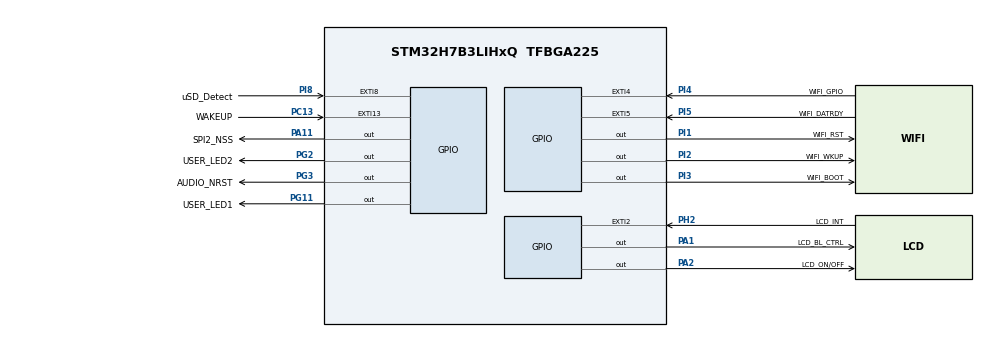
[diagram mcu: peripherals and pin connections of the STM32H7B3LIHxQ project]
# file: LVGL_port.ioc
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CORTEX_M7.CPU_DCache=Enabled
CORTEX_M7.CPU_ICache=Enabled
Mcu.Family=STM32H7
Mcu.Name=STM32H7B3LIHxQ
Mcu.Package=TFBGA225
NVIC.PriorityGroup=NVIC_PRIORITYGROUP_4
PA0.GPIO_Label=I2S6_WS
PA0.Signal=I2S6_WS
PA1.GPIO_Label=LCD_BL_CTRL
PA1.PinState=GPIO_PIN_SET
PA1.Signal=GPIO_Output
PA10.GPIO_Label=VCP_RX
PA10.Signal=USART1_RX
PA11.GPIO_Label=SPI2_NSS
PA11.Signal=GPIO_Output
PA12.GPIO_Label=SPI2_SCK
PA12.Signal=SPI2_SCK
PA13.GPIO_Label=JTMS
PA13.Mode=JTAG_5_pins
PA13.Signal=DEBUG_JTMS-SWDIO
PA14.GPIO_Label=JTCK
PA14.Mode=JTAG_5_pins
PA14.Signal=DEBUG_JTCK-SWCLK
PA15.GPIO_Label=JTDI
PA15.Mode=JTAG_5_pins
PA15.Signal=DEBUG_JTDI
PA2.GPIO_Label=LCD_ON/OFF
PA2.PinState=GPIO_PIN_SET
PA2.Signal=GPIO_Output
PA3.GPIO_Label=I2S6_MCK
PA3.Signal=I2S6_MCK
PA8.GPIO_Label=MCO
PA8.Signal=RCC_MCO_1
PA9.GPIO_Label=VCP_TX
PA9.Signal=USART1_TX
PB2.GPIO_Label=OCSPI1_CLK
PB2.Signal=OCTOSPIM_P1_CLK
PB3.GPIO_Label=JTDO_TRACESWO
PB3.Mode=JTAG_5_pins
PB3.Signal=DEBUG_JTDO-SWO
PB4.Mode=JTAG_5_pins
PB4.Signal=DEBUG_JTRST
PC1.GPIO_Label=OCSPI1_IO4
PC1.Signal=OCTOSPIM_P1_IO4
PC10.GPIO_Label=SDIO1_D2
PC10.Signal=SDMMC1_D2
PC11.GPIO_Label=SDIO1_D3
PC11.Signal=SDMMC1_D3
PC12.GPIO_Label=SDIO1_CK
PC12.Signal=SDMMC1_CK
PC13.GPIO_Label=WAKEUP
PC13.Signal=GPXTI13
PC14-OSC32_IN.Mode=LSE-External-Oscillator
PC14-OSC32_IN.Signal=RCC_OSC32_IN
PC15-OSC32_OUT.Mode=LSE-External-Oscillator
PC15-OSC32_OUT.Signal=RCC_OSC32_OUT
PC2.GPIO_Label=SPI2_MISO
PC2.Signal=SPI2_MISO
PC3.GPIO_Label=SPI2_MOSI
PC3.Signal=SPI2_MOSI
PC5.GPIO_Label=OCSPI1_DQS
PC5.Signal=OCTOSPIM_P1_DQS
PC8.GPIO_Label=SDIO1_D0
PC8.Signal=SDMMC1_D0
PC9.GPIO_Label=SDIO1_D1
PC9.Signal=SDMMC1_D1
PD0.GPIO_Label=D2
PD0.Signal=FMC_D2_DA2
PD1.GPIO_Label=D3
PD1.Signal=FMC_D3_DA3
PD10.GPIO_Label=D15
PD10.Signal=FMC_D15_DA15
PD11.GPIO_Label=OCSPI1_IO0
PD11.Signal=OCTOSPIM_P1_IO0
PD12.GPIO_Label=I2C4_SCL
PD12.Signal=I2C4_SCL
PD13.GPIO_Label=I2C4_SDA
PD13.Signal=I2C4_SDA
PD14.GPIO_Label=D0
PD14.Signal=FMC_D0_DA0
PD15.GPIO_Label=D1
PD15.Signal=FMC_D1_DA1
PD2.GPIO_Label=SDIO1_CMD
PD2.Signal=SDMMC1_CMD
PD7.GPIO_Label=OCSPI1_IO7
PD7.Signal=OCTOSPIM_P1_IO7
PD8.GPIO_Label=D13
PD8.Signal=FMC_D13_DA13
PD9.GPIO_Label=D14
PD9.Signal=FMC_D14_DA14
PE0.GPIO_Label=FMC_NBL0
PE0.Signal=FMC_NBL0
PE1.GPIO_Label=FMC_NBL1
PE1.Signal=FMC_NBL1
PE10.GPIO_Label=D7
PE10.Signal=FMC_D7_DA7
PE11.GPIO_Label=D8
PE11.Signal=FMC_D8_DA8
PE12.GPIO_Label=D9
PE12.Signal=FMC_D9_DA9
PE13.GPIO_Label=D10
PE13.Signal=FMC_D10_DA10
PE14.GPIO_Label=D11
PE14.Signal=FMC_D11_DA11
PE15.GPIO_Label=D12
PE15.Signal=FMC_D12_DA12
PE7.GPIO_Label=D4
PE7.Signal=FMC_D4_DA4
PE8.GPIO_Label=D5
PE8.Signal=FMC_D5_DA5
PE9.GPIO_Label=D6
PE9.Signal=FMC_D6_DA6
PF0.GPIO_Label=A0
PF0.Signal=FMC_A0
PF1.GPIO_Label=A1
PF1.Signal=FMC_A1
PF11.GPIO_Label=SDNRAS
PF11.Signal=FMC_SDNRAS
PF12.GPIO_Label=A6
PF12.Signal=FMC_A6
PF13.GPIO_Label=A7
PF13.Signal=FMC_A7
PF14.GPIO_Label=A8
PF14.Signal=FMC_A8
PF15.GPIO_Label=A9
PF15.Signal=FMC_A9
PF2.GPIO_Label=A2
PF2.Signal=FMC_A2
PF3.GPIO_Label=A3
PF3.Signal=FMC_A3
PF4.GPIO_Label=A4
PF4.Signal=FMC_A4
PF5.GPIO_Label=A5
PF5.Signal=FMC_A5
PF6.GPIO_Label=OCSPI1_IO3
PF6.Signal=OCTOSPIM_P1_IO3
PF7.GPIO_Label=OCSPI1_IO2
PF7.Signal=OCTOSPIM_P1_IO2
PF9.GPIO_Label=OCSPI1_IO1
PF9.Signal=OCTOSPIM_P1_IO1
PG0.GPIO_Label=A10
PG0.Signal=FMC_A10
PG1.GPIO_Label=A11
PG1.Signal=FMC_A11
PG11.GPIO_Label=USER_LED1
PG11.Signal=GPIO_Output
PG12.GPIO_Label=I2S6_SDI
PG12.Signal=I2S6_SDI
PG13.GPIO_Label=I2S6_CK
PG13.Signal=I2S6_CK
PG14.GPIO_Label=I2S6_SDO
PG14.Signal=I2S6_SDO
PG15.GPIO_Label=SDNCAS
PG15.Signal=FMC_SDNCAS
PG2.GPIO_Label=USER_LED2
PG2.Signal=GPIO_Output
PG3.GPIO_Label=AUDIO_NRST
PG3.PinState=GPIO_PIN_SET
PG3.Signal=GPIO_Output
PG4.GPIO_Label=A14
PG4.Signal=FMC_A14_BA0
PG5.GPIO_Label=A15
PG5.Signal=FMC_A15_BA1
PG6.GPIO_Label=OCSPI1_NCS
PG6.Signal=OCTOSPIM_P1_NCS
PG8.GPIO_Label=SDCLK
PG8.Signal=FMC_SDCLK
PG9.GPIO_Label=OCSPI1_IO6
PG9.Signal=OCTOSPIM_P1_IO6
PH0-OSC_IN.Mode=HSE-External-Oscillator
PH0-OSC_IN.Signal=RCC_OSC_IN
PH1-OSC_OUT.Mode=HSE-External-Oscillator
PH1-OSC_OUT.Signal=RCC_OSC_OUT
PH2.GPIO_Label=LCD_INT
PH2.Signal=GPXTI2
PH3.GPIO_Label=OCSPI1_IO5
PH3.Signal=OCTOSPIM_P1_IO5
PH5.GPIO_Label=SDNWE
PH5.Signal=FMC_SDNWE
PH6.GPIO_Label=SDNE1
PH6.Signal=FMC_SDNE1
PH7.GPIO_Label=SDCKE1
PH7.Signal=FMC_SDCKE1
PI1.GPIO_Label=WIFI_RST
PI1.Signal=GPIO_Output
PI12.GPIO_Label=LCD_HSYNC
PI12.Signal=LTDC_HSYNC
PI13.GPIO_Label=LCD_VSYNC
PI13.Signal=LTDC_VSYNC
PI14.GPIO_Label=LCD_CLK
PI14.Signal=LTDC_CLK
PI15.GPIO_Label=LCD_R0
PI15.Signal=LTDC_R0
PI2.GPIO_Label=WIFI_WKUP
PI2.Signal=GPIO_Output
PI3.GPIO_Label=WIFI_BOOT
PI3.Signal=GPIO_Output
PI4.GPIO_Label=WIFI_GPIO
PI4.Signal=GPXTI4
PI5.GPIO_Label=WIFI_DATRDY
PI5.Signal=GPXTI5
PI8.GPIO_Label=uSD_Detect
PI8.GPIO_PuPd=GPIO_PULLUP
PI8.Signal=GPXTI8
PJ0.GPIO_Label=LCD_R1
PJ0.Signal=LTDC_R1
PJ1.GPIO_Label=LCD_R2
PJ1.Signal=LTDC_R2
PJ10.GPIO_Label=LCD_G3
PJ10.Signal=LTDC_G3
PJ11.GPIO_Label=LCD_G4
PJ11.Signal=LTDC_G4
PJ12.GPIO_Label=LCD_B0
PJ12.Signal=LTDC_B0
PJ13.GPIO_Label=LCD_B1
PJ13.Signal=LTDC_B1
PJ14.GPIO_Label=LCD_B2
PJ14.Signal=LTDC_B2
PJ15.GPIO_Label=LCD_B3
PJ15.Signal=LTDC_B3
PJ2.GPIO_Label=LCD_R3
PJ2.Signal=LTDC_R3
PJ3.GPIO_Label=LCD_R4
PJ3.Signal=LTDC_R4
PJ4.GPIO_Label=LCD_R5
PJ4.Signal=LTDC_R5
PJ5.GPIO_Label=LCD_R6
PJ5.Signal=LTDC_R6
PJ6.GPIO_Label=LCD_R7
PJ6.Signal=LTDC_R7
PJ7.GPIO_Label=LCD_G0
PJ7.Signal=LTDC_G0
PJ8.GPIO_Label=LCD_G1
PJ8.Signal=LTDC_G1
PJ9.GPIO_Label=LCD_G2
PJ9.Signal=LTDC_G2
PK0.GPIO_Label=LCD_G5
PK0.Signal=LTDC_G5
PK1.GPIO_Label=LCD_G6
PK1.Signal=LTDC_G6
PK2.GPIO_Label=LCD_G7
PK2.Signal=LTDC_G7
PK3.GPIO_Label=LCD_B4
PK3.Signal=LTDC_B4
PK4.GPIO_Label=LCD_B5
PK4.Signal=LTDC_B5
PK5.GPIO_Label=LCD_B6
PK5.Signal=LTDC_B6
PK6.GPIO_Label=LCD_B7
PK6.Signal=LTDC_B7
PK7.GPIO_Label=LCD_DE
PK7.Signal=LTDC_DE
ProjectManager.HeapSize=0x200
ProjectManager.StackSize=0x400
ProjectManager.TargetToolchain=STM32CubeIDE
RCC.ADCFreq_Value=200000000
RCC.APB1Freq_Value=140000000
RCC.APB2Freq_Value=140000000
RCC.APB3Freq_Value=140000000
RCC.APB4Freq_Value=140000000
RCC.CDPPRE=RCC_APB3_DIV2
RCC.CDPPRE1=RCC_APB1_DIV2
RCC.CDPPRE2=RCC_APB2_DIV2
RCC.CortexFreq_Value=280000000
RCC.DIVM1=3
RCC.DIVM2=12
RCC.DIVM3=24
RCC.DIVN1=70
RCC.DIVN2=200
RCC.DIVN3=192
RCC.DIVP3=17
RCC.DIVQ1=3
RCC.DIVR1=4
RCC.DIVR2=4
RCC.FMCCLockSelection=RCC_FMCCLKSOURCE_PLL2
RCC.HCLKFreq_Value=280000000
RCC.PLL2FRACN=0
RCC.PLL3FRACN=0
RCC.PLLFRACN=0
RCC.PLLSourceVirtual=RCC_PLLSOURCE_HSE
RCC.PWR_Regulator_Voltage_Scale=PWR_REGULATOR_VOLTAGE_SCALE0
RCC.QSPICLockSelection=RCC_OSPICLKSOURCE_PLL2
RCC.RCC_MCO1Source=RCC_MCO1SOURCE_HSE
RCC.RTCClockSelection=RCC_RTCCLKSOURCE_LSE
RCC.SDMMC1CLockSelection=RCC_SDMMCCLKSOURCE_PLL2
RCC.SPI123CLockSelection=RCC_SPI123CLKSOURCE_CLKP
RCC.SRDPPRE=RCC_APB4_DIV2
RCC.SYSCLKFreq_VALUE=280000000
RCC.SYSCLKSource=RCC_SYSCLKSOURCE_PLLCLK
RCC.SupplySource=PWR_DIRECT_SMPS_SUPPLY
RCC.USBFreq_Value=186666666.66666666
SH.FMC_A0.0=FMC_A0
SH.FMC_A1.0=FMC_A1
SH.FMC_A10.0=FMC_A10
SH.FMC_A11.0=FMC_A11
SH.FMC_A14_BA0.0=FMC_BA0
SH.FMC_A15_BA1.0=FMC_BA1
SH.FMC_A2.0=FMC_A2
SH.FMC_A3.0=FMC_A3
SH.FMC_A4.0=FMC_A4
SH.FMC_A5.0=FMC_A5
SH.FMC_A6.0=FMC_A6
SH.FMC_A7.0=FMC_A7
SH.FMC_A8.0=FMC_A8
SH.FMC_A9.0=FMC_A9
SH.FMC_D0_DA0.0=FMC_D0
SH.FMC_D10_DA10.0=FMC_D10
SH.FMC_D11_DA11.0=FMC_D11
SH.FMC_D12_DA12.0=FMC_D12
SH.FMC_D13_DA13.0=FMC_D13
SH.FMC_D14_DA14.0=FMC_D14
SH.FMC_D15_DA15.0=FMC_D15
SH.FMC_D1_DA1.0=FMC_D1
SH.FMC_D2_DA2.0=FMC_D2
SH.FMC_D3_DA3.0=FMC_D3
SH.FMC_D4_DA4.0=FMC_D4
SH.FMC_D5_DA5.0=FMC_D5
SH.FMC_D6_DA6.0=FMC_D6
SH.FMC_D7_DA7.0=FMC_D7
SH.FMC_D8_DA8.0=FMC_D8
SH.FMC_D9_DA9.0=FMC_D9
SH.FMC_NBL0.0=FMC_NBL0
SH.FMC_NBL1.0=FMC_NBL1
SH.FMC_SDCLK.0=FMC_SDCLK
SH.FMC_SDNCAS.0=FMC_SDNCAS
SH.FMC_SDNRAS.0=FMC_SDNRAS
SH.FMC_SDNWE.0=FMC_SDNWE
board=STM32H7B3I-DK

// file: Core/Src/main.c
//#include "main.h"
#include "stm32h7xx.h"
#include "stm32h7b3i_discovery_sdram.h"

#include "lvgl/lvgl.h"
#include "hal_stm_lvgl/tft/tft.h"
#include "hal_stm_lvgl/touchpad/touchpad.h"
#include "lvgl/demos/lv_demos.h"

static void SystemClock_Config(void);
static void MPU_Config(void);
static void CPU_CACHE_Enable(void);

int main(void)
{
	 /* This project template calls firstly two functions in order to configure MPU feature
	     and to enable the CPU Cache, respectively MPU_Config() and CPU_CACHE_Enable().
	     These functions are provided as template implementation that User may integrate
	     in his application, to enhance the performance in case of use of AXI interface
	     with several masters. */

	 /* Configure the MPU attributes as Write Through for SDRAM*/
	 MPU_Config();

	 /* Enable the CPU Cache */
	 CPU_CACHE_Enable();

	 /* Reset of all peripherals, Initializes the Flash interface and the Systick. */
	 HAL_Init();

	 /* Configure the system clock to 280 MHz*/
	 SystemClock_Config();
	 HAL_RCC_MCOConfig(RCC_MCO1, RCC_MCO1SOURCE_HSE, RCC_MCODIV_1);

     lv_init();
     tft_init();
     touchpad_init();

     //lv_demo_benchmark();
     //lv_demo_music();
     //lv_demo_stress();
     lv_demo_widgets();

     while (1)
     {
    	 HAL_Delay(5);
    	 lv_task_handler();
     }
}

static void SystemClock_Config(void)
{
  RCC_ClkInitTypeDef RCC_ClkInitStruct;
  RCC_OscInitTypeDef RCC_OscInitStruct;
  HAL_StatusTypeDef ret = HAL_OK;

  /*!< Supply configuration update enable */
  HAL_PWREx_ConfigSupply(PWR_DIRECT_SMPS_SUPPLY);

  /* The voltage scaling allows optimizing the power consumption when the device is
  clocked below the maximum system frequency, to update the voltage scaling value
  regarding system frequency refer to product datasheet.
  */
  __HAL_PWR_VOLTAGESCALING_CONFIG(PWR_REGULATOR_VOLTAGE_SCALE0);

  while(!__HAL_PWR_GET_FLAG(PWR_FLAG_VOSRDY)) {}

  /* Enable HSE Oscillator and activate PLL with HSE as source */
  RCC_OscInitStruct.OscillatorType = RCC_OSCILLATORTYPE_HSE;
  RCC_OscInitStruct.HSEState = RCC_HSE_ON;
  RCC_OscInitStruct.HSIState = RCC_HSI_OFF;
  RCC_OscInitStruct.CSIState = RCC_CSI_OFF;
  RCC_OscInitStruct.PLL.PLLState = RCC_PLL_ON;
  RCC_OscInitStruct.PLL.PLLSource = RCC_PLLSOURCE_HSE;
  RCC_OscInitStruct.PLL.PLLM = 12;
  RCC_OscInitStruct.PLL.PLLN = 280;
  RCC_OscInitStruct.PLL.PLLFRACN = 0;
  RCC_OscInitStruct.PLL.PLLP = 2;
  RCC_OscInitStruct.PLL.PLLR = 2;
  RCC_OscInitStruct.PLL.PLLQ = 2;

  RCC_OscInitStruct.PLL.PLLVCOSEL = RCC_PLL1VCOWIDE;
  RCC_OscInitStruct.PLL.PLLRGE = RCC_PLL1VCIRANGE_1;
  ret = HAL_RCC_OscConfig(&RCC_OscInitStruct);
  if(ret != HAL_OK)
  {
    while(1);
  }

  /* Select PLL as system clock source and configure  bus clocks dividers */
  RCC_ClkInitStruct.ClockType = (RCC_CLOCKTYPE_SYSCLK | RCC_CLOCKTYPE_HCLK | RCC_CLOCKTYPE_D1PCLK1 | RCC_CLOCKTYPE_PCLK1 | \
    RCC_CLOCKTYPE_PCLK2  | RCC_CLOCKTYPE_D3PCLK1);

  RCC_ClkInitStruct.SYSCLKSource   = RCC_SYSCLKSOURCE_PLLCLK;
  RCC_ClkInitStruct.SYSCLKDivider  = RCC_SYSCLK_DIV1;
  RCC_ClkInitStruct.AHBCLKDivider  = RCC_HCLK_DIV1;
  RCC_ClkInitStruct.APB3CLKDivider = RCC_APB3_DIV2;
  RCC_ClkInitStruct.APB1CLKDivider = RCC_APB1_DIV2;
  RCC_ClkInitStruct.APB2CLKDivider = RCC_APB2_DIV2;
  RCC_ClkInitStruct.APB4CLKDivider = RCC_APB4_DIV2;
  ret = HAL_RCC_ClockConfig(&RCC_ClkInitStruct, FLASH_LATENCY_6);
  if(ret != HAL_OK)
  {
     while(1);
  }

    /*
  Note : The activation of the I/O Compensation Cell is recommended with communication  interfaces
          (GPIO, SPI, FMC, QSPI ...)  when  operating at  high frequencies(please refer to product datasheet)
          The I/O Compensation Cell activation  procedure requires :
        - The activation of the CSI clock
        - The activation of the SYSCFG clock
        - Enabling the I/O Compensation Cell : setting bit[0] of register SYSCFG_CCCSR
  */
  __HAL_RCC_CSI_ENABLE() ;

  __HAL_RCC_SYSCFG_CLK_ENABLE() ;

  HAL_EnableCompensationCell();
}

/* USER CODE BEGIN 4 */
/**
  * @brief  CPU L1-Cache enable.
  * @param  None
  * @retval None
  */
static void MPU_Config(void)
{
  MPU_Region_InitTypeDef MPU_InitStruct;

  /* Disable the MPU */
  HAL_MPU_Disable();

  /* Configure the MPU as Strongly ordered for not defined regions */
    MPU_InitStruct.Enable = MPU_REGION_ENABLE;
    MPU_InitStruct.BaseAddress = 0x00;
    MPU_InitStruct.Size = MPU_REGION_SIZE_4GB;
    MPU_InitStruct.AccessPermission = MPU_REGION_NO_ACCESS;
    MPU_InitStruct.IsBufferable = MPU_ACCESS_NOT_BUFFERABLE;
    MPU_InitStruct.IsCacheable = MPU_ACCESS_NOT_CACHEABLE;
    MPU_InitStruct.IsShareable = MPU_ACCESS_SHAREABLE;
    MPU_InitStruct.Number = MPU_REGION_NUMBER0;
    MPU_InitStruct.TypeExtField = MPU_TEX_LEVEL0;
    MPU_InitStruct.SubRegionDisable = 0x87;
    MPU_InitStruct.DisableExec = MPU_INSTRUCTION_ACCESS_DISABLE;

    HAL_MPU_ConfigRegion(&MPU_InitStruct);

  /* Configure the MPU attributes as WT for SDRAM */
  MPU_InitStruct.Enable = MPU_REGION_ENABLE;
  MPU_InitStruct.BaseAddress = SDRAM_DEVICE_ADDR;
  MPU_InitStruct.Size = MPU_REGION_SIZE_16MB;
  MPU_InitStruct.AccessPermission = MPU_REGION_FULL_ACCESS;
  MPU_InitStruct.IsBufferable = MPU_ACCESS_NOT_BUFFERABLE;
  MPU_InitStruct.IsCacheable = MPU_ACCESS_CACHEABLE;
  MPU_InitStruct.IsShareable = MPU_ACCESS_NOT_SHAREABLE;
  MPU_InitStruct.Number = MPU_REGION_NUMBER0;
  MPU_InitStruct.TypeExtField = MPU_TEX_LEVEL0;
  MPU_InitStruct.SubRegionDisable = 0x00;
  MPU_InitStruct.DisableExec = MPU_INSTRUCTION_ACCESS_ENABLE;
  HAL_MPU_ConfigRegion(&MPU_InitStruct);

  /* Enable the MPU */
  HAL_MPU_Enable(MPU_PRIVILEGED_DEFAULT);
}
/* USER CODE END 4 */

/**
  * @brief  CPU L1-Cache enable.
  * @param  None
  * @retval None
  */
static void CPU_CACHE_Enable(void)
{
  /* Enable I-Cache */
  SCB_EnableICache();

  /* Enable D-Cache */
  SCB_EnableDCache();
}
